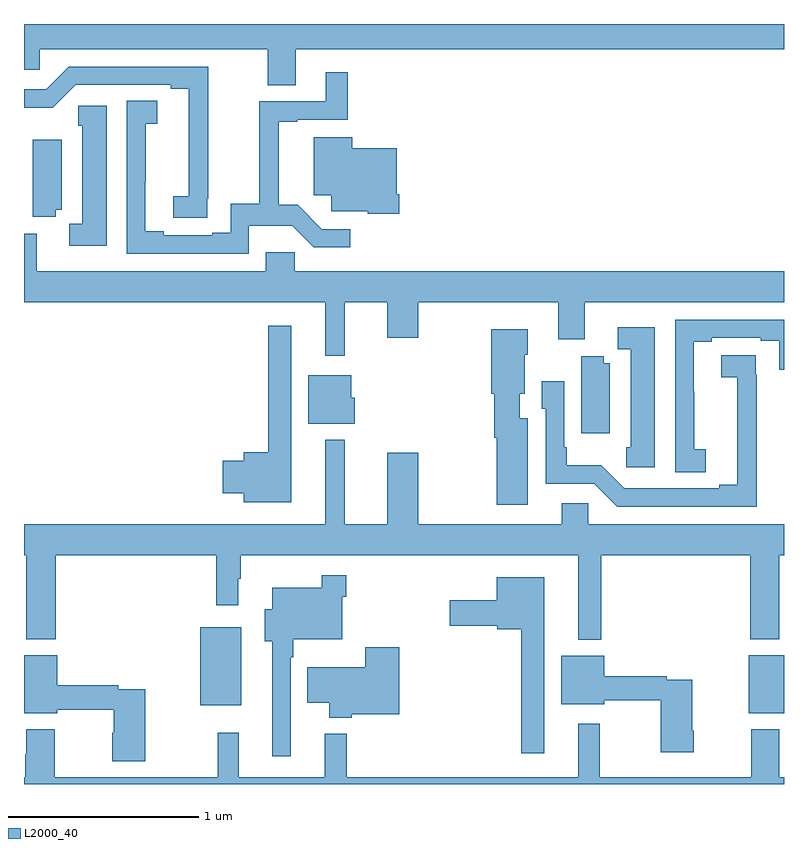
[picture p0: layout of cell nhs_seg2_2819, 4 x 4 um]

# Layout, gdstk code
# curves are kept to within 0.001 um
import gdstk
lib = gdstk.Library(unit=1e-6, precision=1e-09)
def R(c, l, rs):  # rectangles x0, y0, x1, y1
    for r in rs: c.add(gdstk.rectangle(r[:2], r[2:], *l))
def P(c, l, *ps):  # polygons
    for p in ps: c.add(gdstk.Polygon(p, *l))
L2000_40 = (2000, 40)

nhs_seg2_2819 = lib.new_cell('nhs_seg2_2819')
R(nhs_seg2_2819, L2000_40, [(262.814,612.173,263,612.478), (259.928,612.215,260.143,612.625)])
P(nhs_seg2_2819, L2000_40, [(260.431,615.668),(263,615.668),(263,615.8),(259,615.8),(259,615.558),(259.083,615.558),(259.083,615.668),(260.284,615.668),(260.284,615.478),(260.431,615.478)],
  [(259.964,614.881),(259.97,614.881),(259.97,615.576),(259.236,615.576),(259.116,615.456),(259,615.456),(259,615.359),(259.151,615.359),(259.272,615.48),(259.772,615.48),(259.772,615.46),(259.868,615.46),(259.867,614.894),(259.785,614.894),(259.785,614.779),(259.964,614.779)],
  [(260.184,614.738),(260.413,614.738),(260.526,614.625),(260.716,614.625),(260.716,614.721),(260.568,614.721),(260.441,614.848),(260.342,614.848),(260.342,615.285),(260.437,615.285),(260.437,615.297),(260.705,615.297),(260.705,615.547),(260.588,615.547),(260.588,615.393),(260.239,615.393),(260.239,614.855),(260.088,614.855),(260.088,614.702),(259.991,614.702),(259.991,614.688),(259.735,614.688),(259.735,614.708),(259.639,614.708),(259.639,614.971),(259.641,614.971),(259.641,615.275),(259.702,615.275),(259.702,615.395),(259.542,615.395),(259.542,614.592),(260.184,614.592)],
  [(259.435,615.37),(259.285,615.37),(259.285,615.264),(259.307,615.264),(259.307,614.748),(259.239,614.748),(259.239,614.633),(259.435,614.633)],
  [(260.975,614.905),(260.962,614.905),(260.962,615.145),(260.728,615.145),(260.728,615.205),(260.525,615.205),(260.525,614.9),(260.616,614.9),(260.616,614.814),(260.808,614.814),(260.808,614.801),(260.975,614.801)],
  [(259.166,614.822),(259.198,614.822),(259.198,615.19),(259.046,615.19),(259.046,614.785),(259.166,614.785)],
  [(260.689,614.336),(260.912,614.336),(260.912,614.148),(261.076,614.148),(261.076,614.336),(261.812,614.336),(261.812,614.142),(261.952,614.142),(261.952,614.336),(263,614.336),(263,614.5),(260.425,614.5),(260.425,614.598),(260.273,614.598),(260.273,614.5),(259.066,614.5),(259.066,614.695),(259,614.695),(259,614.336),(260.585,614.336),(260.585,614.055),(260.689,614.055)],
  [(262.588,613.561),(262.527,613.561),(262.527,613.865),(262.525,613.865),(262.525,614.128),(262.621,614.128),(262.621,614.148),(262.877,614.148),(262.877,614.134),(262.974,614.134),(262.974,613.981),(263,613.981),(263,614.244),(262.428,614.244),(262.428,613.441),(262.588,613.441)],
  [(260.407,614.212),(260.286,614.212),(260.286,613.546),(260.156,613.546),(260.156,613.502),(260.045,613.502),(260.045,613.331),(260.156,613.331),(260.156,613.283),(260.407,613.283)],
  [(262.321,614.203),(262.125,614.203),(262.125,614.088),(262.193,614.088),(262.193,613.572),(262.171,613.572),(262.171,613.467),(262.321,613.467)],
  [(261.652,613.726),(261.61,613.726),(261.61,613.854),(261.636,613.854),(261.636,614.058),(261.652,614.058),(261.652,614.194),(261.458,614.194),(261.458,613.854),(261.476,613.854),(261.476,613.622),(261.488,613.622),(261.488,613.269),(261.652,613.269)],
  [(262.856,613.955),(262.85,613.955),(262.85,614.057),(262.671,614.057),(262.671,613.942),(262.753,613.942),(262.754,613.376),(262.658,613.376),(262.658,613.356),(262.158,613.356),(262.037,613.477),(261.856,613.477),(261.856,613.573),(261.843,613.573),(261.843,613.921),(261.726,613.921),(261.726,613.776),(261.747,613.776),(261.747,613.38),(262.002,613.38),(262.122,613.26),(262.856,613.26)],
  [(262.084,614.014),(262.052,614.014),(262.052,614.051),(261.932,614.051),(261.932,613.647),(262.084,613.647)],
  [(260.74,613.833),(260.722,613.833),(260.722,613.951),(260.495,613.951),(260.495,613.697),(260.74,613.697)],
  [(262.039,613.004),(262.823,613.004),(262.823,612.563),(262.975,612.563),(262.975,613.004),(263,613.004),(263,613.168),(261.969,613.168),(261.969,613.278),(261.83,613.278),(261.83,613.168),(261.076,613.168),(261.076,613.543),(260.912,613.543),(260.912,613.168),(260.689,613.168),(260.689,613.612),(260.585,613.612),(260.585,613.168),(259,613.168),(259,613.004),(259.013,613.004),(259.013,612.563),(259.166,612.563),(259.166,613.004),(260.011,613.004),(260.011,612.741),(260.128,612.741),(260.128,612.881),(260.14,612.881),(260.14,613.004),(261.917,613.004),(261.917,612.56),(262.039,612.56)],
  [(260.403,612.467),(260.416,612.467),(260.416,612.563),(260.676,612.563),(260.676,612.785),(260.696,612.785),(260.696,612.898),(260.568,612.898),(260.568,612.832),(260.306,612.832),(260.306,612.721),(260.267,612.721),(260.267,612.551),(260.306,612.551),(260.306,611.946),(260.403,611.946)],
  [(261.739,612.889),(261.488,612.889),(261.488,612.766),(261.24,612.766),(261.24,612.632),(261.492,612.632),(261.492,612.614),(261.618,612.614),(261.618,611.961),(261.739,611.961)],
  [(260.724,612.167),(260.975,612.167),(260.975,612.52),(260.797,612.52),(260.797,612.415),(260.492,612.415),(260.492,612.227),(260.606,612.227),(260.606,612.149),(260.724,612.149)],
  [(259.638,612.3),(259.496,612.3),(259.496,612.32),(259.174,612.32),(259.174,612.478),(259,612.478),(259,612.173),(259.174,612.173),(259.174,612.192),(259.472,612.192),(259.472,612.069),(259.465,612.069),(259.465,611.921),(259.638,611.921)],
  [(262.524,612.079),(262.516,612.079),(262.516,612.348),(262.382,612.348),(262.382,612.368),(262.054,612.368),(262.054,612.475),(261.827,612.475),(261.827,612.221),(262.054,612.221),(262.054,612.24),(262.351,612.24),(262.351,611.967),(262.524,611.967)],
  [(263,611.836),(262.975,611.836),(262.975,612.088),(262.828,612.088),(262.828,611.836),(262.031,611.836),(262.031,612.118),(261.917,612.118),(261.917,611.836),(260.699,611.836),(260.699,612.064),(260.582,612.064),(260.582,611.836),(260.129,611.836),(260.129,612.07),(260.019,612.07),(260.019,611.836),(259.161,611.836),(259.161,612.088),(259.013,612.088),(259.013,611.957),(259.006,611.957),(259.006,611.836),(259,611.836),(259,611.8),(263,611.8)])

lib.write_gds('nhs_seg2_2819.gds')
